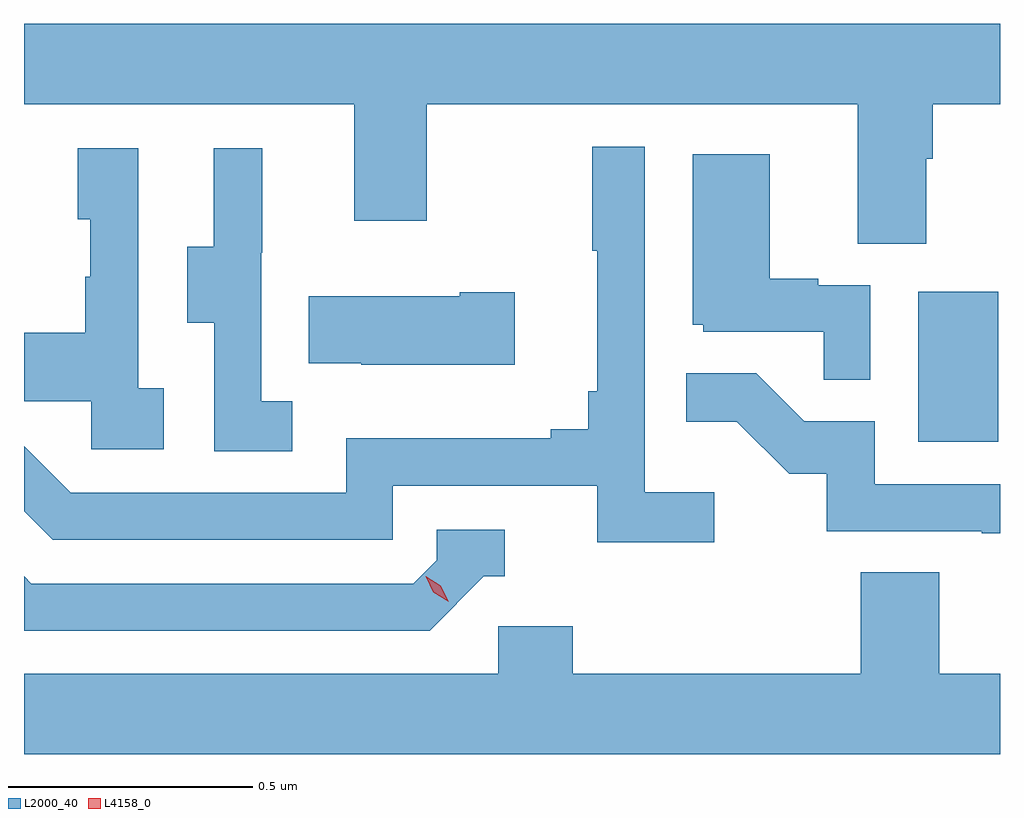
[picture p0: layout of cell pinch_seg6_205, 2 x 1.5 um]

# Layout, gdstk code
import gdstk
lib = gdstk.Library(unit=1e-6, precision=1e-09)
def R(c, l, rs):  # rectangles x0, y0, x1, y1
    for r in rs: c.add(gdstk.rectangle(r[:2], r[2:], *l))
def P(c, l, *ps):  # polygons
    for p in ps: c.add(gdstk.Polygon(p, *l))
L2000_40 = (2000, 40)
L4158_0 = (4158, 0)

pinch_seg6_205 = lib.new_cell('pinch_seg6_205')
R(pinch_seg6_205, L2000_40, [(1075.562,917.34,1075.726,917.647)])
P(pinch_seg6_205, L2000_40, [(1075.579,917.92),(1075.592,917.92),(1075.592,918.032),(1075.73,918.032),(1075.73,918.196),(1073.73,918.196),(1073.73,918.032),(1074.407,918.032),(1074.407,917.793),(1074.555,917.793),(1074.555,918.032),(1075.439,918.032),(1075.439,917.746),(1075.579,917.746)],
  [(1075.144,917.236),(1075.002,917.236),(1075.002,917.944),(1074.894,917.944),(1074.894,917.731),(1074.905,917.731),(1074.905,917.443),(1074.886,917.443),(1074.886,917.366),(1074.809,917.366),(1074.809,917.347),(1074.39,917.347),(1074.39,917.235),(1073.826,917.235),(1073.73,917.331),(1073.73,917.198),(1073.789,917.139),(1074.486,917.139),(1074.486,917.25),(1074.905,917.25),(1074.905,917.134),(1075.144,917.134)],
  [(1074.016,917.45),(1073.964,917.45),(1073.964,917.941),(1073.84,917.941),(1073.84,917.796),(1073.866,917.796),(1073.866,917.678),(1073.856,917.678),(1073.856,917.563),(1073.73,917.563),(1073.73,917.423),(1073.868,917.423),(1073.868,917.325),(1074.016,917.325)],
  [(1074.28,917.423),(1074.216,917.423),(1074.216,917.727),(1074.218,917.727),(1074.218,917.941),(1074.119,917.941),(1074.119,917.739),(1074.065,917.739),(1074.065,917.584),(1074.12,917.584),(1074.12,917.32),(1074.28,917.32)],
  [(1075.464,917.661),(1075.358,917.661),(1075.358,917.674),(1075.258,917.674),(1075.258,917.929),(1075.1,917.929),(1075.1,917.58),(1075.122,917.58),(1075.122,917.565),(1075.369,917.565),(1075.369,917.467),(1075.464,917.467)],
  [(1074.736,917.646),(1074.623,917.646),(1074.623,917.638),(1074.313,917.638),(1074.313,917.501),(1074.421,917.501),(1074.421,917.498),(1074.736,917.498)],
  [(1075.73,917.253),(1075.473,917.253),(1075.473,917.382),(1075.329,917.382),(1075.231,917.48),(1075.087,917.48),(1075.087,917.381),(1075.191,917.381),(1075.298,917.274),(1075.375,917.274),(1075.375,917.157),(1075.693,917.157),(1075.693,917.152),(1075.73,917.152)],
  [(1074.672,917.064),(1074.715,917.064),(1074.715,917.16),(1074.576,917.16),(1074.576,917.097),(1074.528,917.049),(1073.745,917.049),(1073.73,917.064),(1073.73,916.953),(1074.561,916.953)],
  [(1075.73,916.864),(1075.605,916.864),(1075.605,917.072),(1075.445,917.072),(1075.445,916.864),(1074.854,916.864),(1074.854,916.962),(1074.702,916.962),(1074.702,916.864),(1073.73,916.864),(1073.73,916.7),(1075.73,916.7)])
P(pinch_seg6_205, L4158_0, [(1074.6,917.012),(1074.569,917.031),(1074.553,917.064),(1074.553,917.064),(1074.553,917.064),(1074.584,917.045),(1074.6,917.012),(1074.6,917.012)])

lib.write_gds('pinch_seg6_205.gds')
